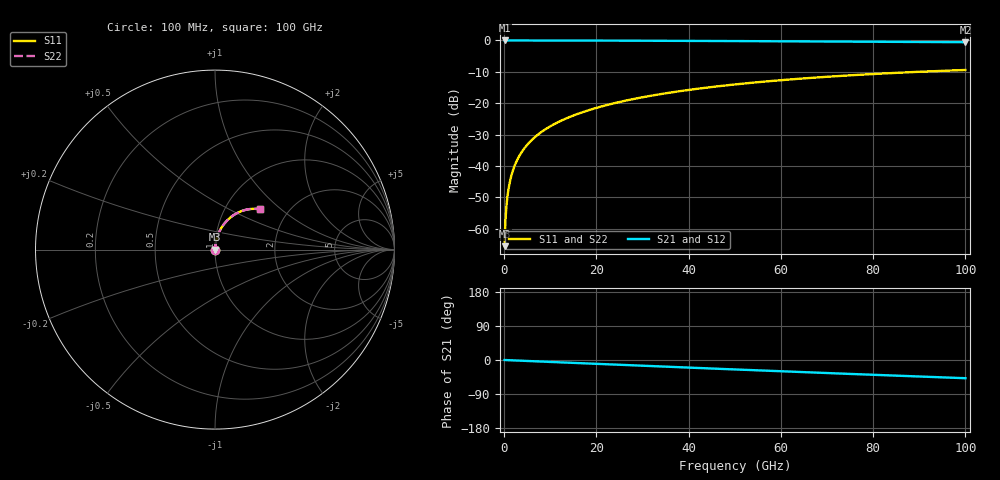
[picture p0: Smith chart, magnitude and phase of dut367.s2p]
! Touchstone file exported from HFSS 2026.1.0
!  File:  C:/ffzhzh/LocalFiles/Ansys_Project_Files/temp_train_TSV_367_1783510269_44152.aedt
!  Generated:  07:32:38 PM Jul  8, 2026
!  Design:  TSV
!  Project:  temp_train_TSV_367_1783510269_44152
! Variables:
!  h_bsmrdl = 2um
!  h_ox = 20um
!  h_rdl = 5um
!  h_sub = 84.34um
!  h_tmrdl = 5um
!  h_tsv = 84.34um
!  h_via = 3um
!  l_bsmrdl = 300um
!  l_sub = 413.7um
!  l_tmrdl = 200um
!  m_sub = 200um
!  pitch = 57.92um
!  r_tsv = 6.85um
!  s_tmrdl = 10um
!  w_bsmrdl = 18um
!  w_sub = 500um
!  w_tmrdl = 12um
!  x_tsv_center1 = 206um
!  x_tsv_center2 = 524um
!  x_tsv_center3 = 736um
!  x_tsv_center4 = 1054um
!  x_tsv_center5 = 1266um
!  x_tsv_center6 = 1584um
# GHz S MA R 50.000000
! Terminal data exported
! Port[1] = TSV1_1_T1
! Port[2] = TSV1_1_T2
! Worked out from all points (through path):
!   1000 points, 100 MHz to 100 GHz, reference 50 ohm
!   highest |S21| = 0.00 dB at 100 MHz (marker M1); lowest = -0.6 dB at 100 GHz (marker M2)
!   group delay of S21, straight-line fit = 1.34 ps
!   lowest |S11| = -65.6 dB at 100 MHz (marker M3), VSWR 1.00, Z = 50 + j0.0467 ohm
!   |S11| at or under -10 dB: start of sweep to 89.88 GHz
!   |S22| runs from -65.6 to -9.4 dB; largest |S21 - S12| = 4.6e-15
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0.1  0.0005241 62.9  0.9998 -0.1  0.9998 -0.1  0.0005241 62.9
! Gamma 0 0 0 0
! Port Impedance 50 0 50 0
0.3  0.00141 79.0  0.9997 -0.2  0.9997 -0.2  0.00141 79.0
0.7  0.00319 83.8  0.9997 -0.4  0.9997 -0.4  0.00319 83.8
0.8  0.003633 84.2  0.9997 -0.4  0.9997 -0.4  0.003633 84.2
1  0.004517 84.8  0.9996 -0.5  0.9996 -0.5  0.004517 84.8
1.3  0.005837 85.3  0.9996 -0.7  0.9996 -0.7  0.005837 85.3
1.7  0.007584 85.5  0.9995 -0.9  0.9995 -0.9  0.007584 85.5
2.3  0.01018 85.6  0.9994 -1.2  0.9994 -1.2  0.01018 85.6
3  0.01318 85.6  0.9993 -1.5  0.9993 -1.5  0.01318 85.6
3.8  0.01659 85.5  0.9991 -2.0  0.9991 -2.0  0.01659 85.5
4.8  0.02083 85.2  0.9989 -2.5  0.9989 -2.5  0.02083 85.2
6  0.0259 84.9  0.9987 -3.1  0.9987 -3.1  0.0259 84.9
8.8  0.0377 83.8  0.9982 -4.5  0.9982 -4.5  0.0377 83.8
12.4  0.05275 82.2  0.9972 -6.3  0.9972 -6.3  0.05275 82.2
16.8  0.07097 80.2  0.9959 -8.5  0.9959 -8.5  0.07097 80.2
24.2  0.1011 76.7  0.993 -12.2  0.993 -12.2  0.1011 76.7
33.4  0.1374 72.3  0.9883 -16.8  0.9883 -16.8  0.1374 72.3
41.2  0.167 68.5  0.9836 -20.6  0.9836 -20.6  0.167 68.5
50.1  0.1991 64.3  0.9774 -25.0  0.9774 -25.0  0.1991 64.3
66.7  0.2536 56.5  0.9644 -32.9  0.9644 -32.9  0.2536 56.5
83.4  0.3004 48.8  0.9506 -40.6  0.9506 -40.6  0.3004 48.9
100  0.3381 41.4  0.9376 -48.1  0.9376 -48.1  0.3381 41.5
